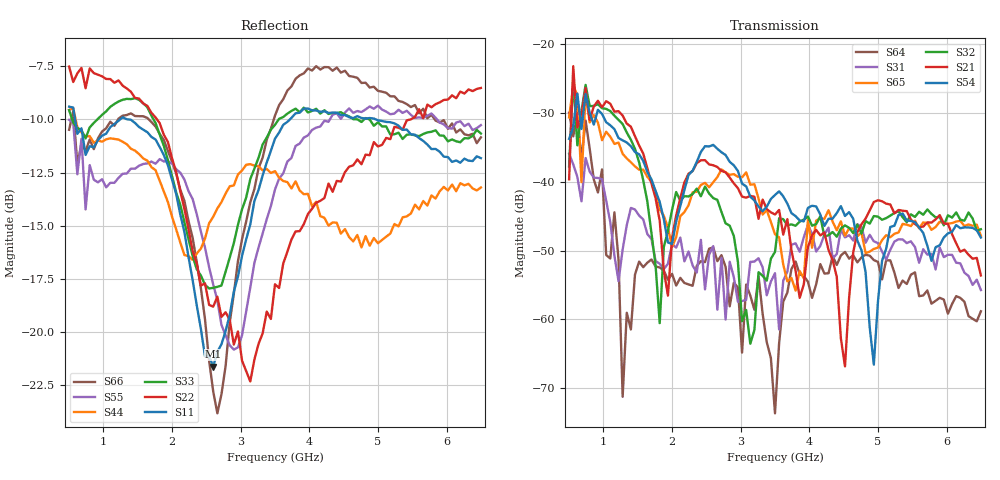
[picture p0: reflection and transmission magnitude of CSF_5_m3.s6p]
!Keysight Technologies,M9804A,MY58100912,A.14.10.03
!Date: Thursday, April 27, 2023 10:28:33
!Correction: S11(C  6-Port  )
!S12(C  6-Port  )
!S13(C  6-Port  )
!S14(C  6-Port  )
!S15(C  6-Port  )
!S16(C  6-Port  )
!S21(C  6-Port  )
!S22(C  6-Port  )
!S23(C  6-Port  )
!S24(C  6-Port  )
!S25(C  6-Port  )
!S26(C  6-Port  )
!S31(C  6-Port  )
!S32(C  6-Port  )
!S33(C  6-Port  )
!S34(C  6-Port  )
!S35(C  6-Port  )
!S36(C  6-Port  )
!S41(C  6-Port  )
!S42(C  6-Port  )
!S43(C  6-Port  )
!S44(C  6-Port  )
!S45(C  6-Port  )
!S46(C  6-Port  )
!S51(C  6-Port  )
!S52(C  6-Port  )
!S53(C  6-Port  )
!S54(C  6-Port  )
!S55(C  6-Port  )
!S56(C  6-Port  )
!S61(C  6-Port  )
!S62(C  6-Port  )
!S63(C  6-Port  )
!S64(C  6-Port  )
!S65(C  6-Port  )
!S66(C  6-Port  )
!S6P File: Measurement: :
# Hz S  RI  R 50
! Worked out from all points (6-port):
!   101 points, 500 MHz to 6.5 GHz, reference 50 ohm
!   strongest paths, dB at 500 MHz, 2 GHz, 3.5 GHz, 5 GHz, 6.5 GHz:
!     S54: -33.7, -49.0, -41.9, -57.4, -48.1
!     S21: -39.6, -48.1, -44.7, -42.7, -53.6
!     S32: -37.8, -44.1, -50.2, -45.0, -46.9
!     S65: -30.6, -49.5, -47.6, -49.6, -47.8
!     S31: -35.9, -49.1, -53.3, -48.9, -55.7
!     S64: -30.0, -53.4, -73.6, -51.6, -58.8
!   lowest |S11| = -21.6 dB at 2.6 GHz (marker M1), VSWR 1.18, Z = 42.6 + j2.05 ohm
!   |S11| at or under -10 dB: 587.2 MHz to 1.242 GHz (655.2 MHz wide, 71.6 % of centre); 1.369 GHz to 3.716 GHz (2.347 GHz wide, 92.3 % of centre); 4.971 GHz to end of sweep
